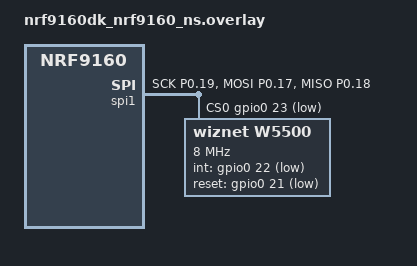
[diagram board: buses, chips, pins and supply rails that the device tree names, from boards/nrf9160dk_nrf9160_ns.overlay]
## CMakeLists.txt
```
cmake_minimum_required(VERSION 3.13.1)
find_package(Zephyr REQUIRED HINTS $ENV{ZEPHYR_BASE})
find_package(PythonInterp REQUIRED)
project(controller)

add_custom_command(TARGET app
     PRE_BUILD
     COMMAND "${PYTHON_EXECUTABLE}" "${CMAKE_CURRENT_SOURCE_DIR}/tools/updatebuild.py" "${CMAKE_CURRENT_SOURCE_DIR}/include"
     COMMENT "This command will generate the build.h file"
     VERBATIM
)
zephyr_include_directories(src)
file (GLOB SRC_FILES
    ${CMAKE_CURRENT_SOURCE_DIR}/src/*.c
)
target_sources(app PRIVATE ${SRC_FILES})
zephyr_library_include_directories(.)
zephyr_library_include_directories(lib)
zephyr_library_include_directories(include)
```

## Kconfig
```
menu "Repository"
config REPOSITORY_STACK_SIZE
	int "Repository in stack size"
	default 2048
	help
	  The size of the repository thread stack

config REPOSITORY_HOSTNAME
	string "Repository hostname"
	default "clientname.pcdworks.com"
	help
	   The target hostname of the repository
	   
config REPOSITORY_PORT
	int "Repository port"
	default 443
	help
	  The repository HTTPS port to use

config REPOSITORY_PATH_LENGTH
	int "Length of the built path for repository"
	default 128
	help
	  The length of the paths for sending and
	  receiving to and from the repository

config REPOSITORY_MESSAGE_COUNT
	int "Number of messsages that can be queued"
	default 16
	help
	   The number of messages for both incoming and
	   outgoing message queues

config REPOSITORY_BUFFER_SIZE
	int "Number of bytes for receive buffer"
	default 2048
	help
	  The size of the buffer to send / receive messages
endmenu

menu "Zephyr Kernel"
source "Kconfig.zephyr"
endmenu
```

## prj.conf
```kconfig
# Memory configuration
CONFIG_HEAP_MEM_POOL_SIZE=1024
CONFIG_MAIN_STACK_SIZE=4096

# Networking support
CONFIG_NETWORKING=y
CONFIG_NET_MGMT=y
CONFIG_NET_CONFIG_SETTINGS=y

# Network sockets
CONFIG_NET_SOCKETS=y
CONFIG_NET_SOCKETS_POSIX_NAMES=y
CONFIG_NET_SOCKETS_OFFLOAD=n

# LTE support
CONFIG_LTE_LINK_CONTROL=y
CONFIG_LTE_AUTO_INIT_AND_CONNECT=n

# Modem library
CONFIG_NRF_MODEM_LIB=y

# C library
CONFIG_NEWLIB_LIBC=y

# Date and time library
CONFIG_DATE_TIME=y

# Logging
CONFIG_LOG=y
CONFIG_NET_LOG=y

# Certificate management
CONFIG_MODEM_KEY_MGMT=y

# IPv4
CONFIG_NET_IPV4=y
CONFIG_NET_DHCPV4=y
CONFIG_NET_IF_MAX_IPV4_COUNT=4

# IPv6
CONFIG_NET_IPV6=y
CONFIG_NET_IF_MAX_IPV6_COUNT=4

# HTTP Client
CONFIG_HTTP_CLIENT=y

# Ethernet
CONFIG_SPI=y
CONFIG_NET_L2_ETHERNET=y
CONFIG_ETH_W5500=y
CONFIG_ETH_W5500_TIMEOUT=1000
CONFIG_ETHERNET_LOG_LEVEL_DBG=y
CONFIG_ETHERNET_LOG_LEVEL_INF=y

# DNS
CONFIG_DNS_RESOLVER=y
CONFIG_DNS_SERVER_IP_ADDRESSES=y
CONFIG_DNS_SERVER1="1.1.1.1"
CONFIG_DNS_SERVER2="8.8.8.8"
CONFIG_DNS_SERVER3="9.9.9.9"
```

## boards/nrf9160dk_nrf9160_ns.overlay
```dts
&uart1 {
	status = "disabled";
};

&pinctrl {

	spi1_default: spi1_default {
		group1 {
            psels = < NRF_PSEL(SPIM_SCK, 0, 19)>,
            < NRF_PSEL(SPIM_MOSI, 0, 17) >,
            < NRF_PSEL(SPIM_MISO, 0, 18) >;
		};
	};
	spi1_sleep: spi1_sleep {
		group1 {
            psels = < NRF_PSEL(SPIM_SCK, 0, 19)>,
            < NRF_PSEL(SPIM_MOSI, 0, 17) >,
            < NRF_PSEL(SPIM_MISO, 0, 18) >;
		};
	};
};

&spi1 {
    compatible = "nordic,nrf-spim";
    status = "okay";
    cs-gpios = <&gpio0 23 (GPIO_ACTIVE_LOW|GPIO_PULL_UP)>;
    pinctrl-0 = <&spi1_default>;
    pinctrl-1 = <&spi1_sleep>;
	pinctrl-names = "default", "sleep";
    w5500: w5500@0 {
        compatible = "wiznet,w5500";
        label = "w5500";
        reg = <0x0>;
        spi-max-frequency = <8000000>;
        int-gpios = <&gpio0 22 GPIO_ACTIVE_LOW>;
        reset-gpios = <&gpio0 21 (GPIO_ACTIVE_LOW|GPIO_PULL_UP)>;
        duplex = < 0 >;
        frame-format = < 0 >;
        local-mac-address = [ 98 76 b6 12 13 56 ];
    };
};
```

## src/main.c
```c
#if __has_include("clientname/build.h")
#include <clientname/build.h>
#endif
#include <clientname/ethernet.h>
#include <clientname/modem.h>
#include <clientname/repository.h>
#include <zephyr/kernel.h>
#include <zephyr/logging/log.h>

#define LOG_MODULE_NAME main
LOG_MODULE_REGISTER(LOG_MODULE_NAME);

#if IS_ENABLED(CONFIG_NET_L2_ETHERNET)
#include <zephyr/net/net_if.h>
#endif

void main() {
#if defined(VERSION) && defined(BUILD)
  printk("Version: %s\nBuild: %s\n", VERSION, BUILD);
#endif

  eth_init();

  /* Enable modem */
  modem_init();

  /* connect to LTE */
  // modem_connect();

  /* Enable repositoy*/
  k_sleep(K_SECONDS(10));
  repository_init();
}
```

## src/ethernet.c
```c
#include <errno.h>
#include <clientname/ethernet.h>
#include <stdio.h>
#include <zephyr/kernel.h>
#include <zephyr/linker/sections.h>
#include <zephyr/net/net_context.h>
#include <zephyr/net/net_core.h>
#include <zephyr/net/net_if.h>
#include <zephyr/net/net_mgmt.h>
#include <zephyr/net/net_config.h>

LOG_MODULE_REGISTER(eth, LOG_LEVEL_DBG);


static struct net_mgmt_event_callback mgmt_cb;

static void handler(struct net_mgmt_event_callback *cb, uint32_t mgmt_event,
                    struct net_if *iface) {
  int i = 0;

  if (mgmt_event != NET_EVENT_IPV4_ADDR_ADD) {
    return;
  }

  for (i = 0; i < NET_IF_MAX_IPV4_ADDR; i++) {
    char buf[NET_IPV4_ADDR_LEN];

    if (iface->config.ip.ipv4->unicast[i].addr_type != NET_ADDR_DHCP) {
      continue;
    }

    LOG_INF("Your address: %s",
            net_addr_ntop(AF_INET,
                          &iface->config.ip.ipv4->unicast[i].address.in_addr,
                          buf, sizeof(buf)));
    LOG_INF("Lease time: %u seconds", iface->config.dhcpv4.lease_time);
    LOG_INF("Subnet: %s",
            net_addr_ntop(AF_INET, &iface->config.ip.ipv4->netmask, buf,
                          sizeof(buf)));
    LOG_INF("Router: %s", net_addr_ntop(AF_INET, &iface->config.ip.ipv4->gw,
                                        buf, sizeof(buf)));
  }
}

void eth_init(void) {
  struct net_if *iface;

  LOG_INF("Run dhcpv4 client");

  net_mgmt_init_event_callback(&mgmt_cb, handler, NET_EVENT_IPV4_ADDR_ADD);
  net_mgmt_add_event_callback(&mgmt_cb);

  iface = net_if_get_default();

  net_dhcpv4_start(iface);

}
```

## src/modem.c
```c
#include <date_time.h>
#include <clientname/certificate.h>
#include <clientname/modem.h>
#include <modem/lte_lc.h>
#include <modem/nrf_modem_lib.h>
#include <nrf_modem_at.h>
#include <stdlib.h>
#include <string.h>
#include <zephyr/kernel.h>
#include <zephyr/logging/log.h>

#define LOG_MODULE_NAME modem
LOG_MODULE_REGISTER(LOG_MODULE_NAME);

/* LTE connection */
static K_SEM_DEFINE(lte_connected, 0, 1);

static void lte_event_handler(const struct lte_lc_evt *const evt) {
  switch (evt->type) {
    case LTE_LC_EVT_NW_REG_STATUS:
      if ((evt->nw_reg_status == LTE_LC_NW_REG_REGISTERED_HOME) ||
          (evt->nw_reg_status == LTE_LC_NW_REG_REGISTERED_ROAMING)) {
        LOG_INF("Connected to LTE");
        k_sem_give(&lte_connected);
      }
      break;
    default:
      break;
  }
}

int modem_get_iccid(char *result, int result_len) {
  char p[60] = {0};
  if (result == NULL || result_len < 30) {
    LOG_ERR("buffer not big enough for iccid");
    return -1;
  }
  nrf_modem_at_cmd(p, sizeof(p), "AT+CRSM=176,12258,0,0,10");
  char *start = strchr(p, '"');
  if (start == NULL) {
    LOG_ERR("invalid response from modem");
    return -1;
  }

  char *end = strchr(start + 1, '"');
  if (end == NULL) {
    LOG_ERR("invalid response from modem");
    return -1;
  }

  memcpy(result, start + 1, end - start - 1);
  return 0;
}

int modem_get_imei(char *result, int result_len) {
  if (result == NULL || result_len < 30) {
    LOG_ERR("buffer not big enough for imei");
    return -1;
  }
  int err = nrf_modem_at_cmd(result, result_len, "AT+CGSN");
  char *end = strchr(result, '\r');
  if (end != NULL) {
    result[end - result] = '\0';
  }
  return err;
}

int modem_get_uuid(char *result, int result_len) {
  char p[32] = {0};
  if (modem_get_imei(p, sizeof(p)) != 0) {
    LOG_ERR("failed to get imei so cannot build uuid");
    return -1;
  }
  int p_len = strlen(p);
  int h = 0;
  for (int i = 0; i < p_len; i++) {
    if (i == 4 || i == 6 || i == 8 || i == 10) {
      result[(i * 2) + h] = '-';
      h++;
    }
    result[(i * 2) + h] = '0';
    result[(i * 2) + h + 1] = p[i];
  }
  return 0;
}

int32_t modem_get_temperature() {
  char res[32] = {0};
  int32_t temp = 0;
  nrf_modem_at_cmd(res, sizeof(res), "AT%%XTEMP?");

  char *found = strchr(res, ':') + 1;

  if (found != NULL) {
    temp = strtol(found + 1, NULL, 10);
  } else {
    LOG_WRN("invalid temperature information");
  }
  return temp;
}

static void date_time_evt_handler(const struct date_time_evt *evt) {
  /* TODO date time event handling */
  LOG_INF("got network datetime");
}

void modem_init() {
  /* handle datetime*/
  if (IS_ENABLED(CONFIG_DATE_TIME)) {
    date_time_register_handler(date_time_evt_handler);
  }

  /* Put the modem in normal operating mode*/
  nrf_modem_lib_init(NORMAL_MODE);

  /* Provision certifcates */
  int err = cert_provision();
  if (err != 0) {
    LOG_ERR("Cannot add certificates");
  }
  /* initialize the modem*/
  lte_lc_init();
  lte_lc_register_handler(lte_event_handler);

  /* Disable PSM. (power saving) */
  lte_lc_psm_req(true);
}

void modem_connect() {
  lte_lc_connect();

  k_sem_take(&lte_connected, K_FOREVER);
}
```

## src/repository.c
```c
#include <clientname/certificate.h>
#include <clientname/modem.h>
#include <clientname/repository.h>
#include <stdio.h>
#include <zephyr/kernel.h>
#include <zephyr/logging/log.h>
#include <zephyr/net/http/client.h>
#include <zephyr/net/socket.h>

#define LOG_MODULE_NAME repository
LOG_MODULE_REGISTER(LOG_MODULE_NAME);

/* repository thread */
K_THREAD_STACK_DEFINE(repository_stack, CONFIG_REPOSITORY_STACK_SIZE);
static struct k_thread repository_tcb;
static k_tid_t repository_thread_id;

K_MSGQ_DEFINE(out_msgq, sizeof(union message), CONFIG_REPOSITORY_MESSAGE_COUNT,
              8);

/* buffer size of incoming and outgoing data */
static char recv_buf[CONFIG_REPOSITORY_BUFFER_SIZE] = {0};
// static char send_buf[CONFIG_REPOSITORY_BUFFER_SIZE] = {0};

/* incoming messages come from here */
static char in_path[CONFIG_REPOSITORY_PATH_LENGTH] = {0};

/* outgoing messages sent to here*/
static char out_path[CONFIG_REPOSITORY_PATH_LENGTH] = {0};

/* wait time between get requests */
static uint32_t wait_time = 5;

ssize_t request(char *buf, size_t buf_len, const char *path) {
  return snprintf(buf, buf_len,
                  "GET %s HTTP/1.1\r\n"
                  "Connection: keep-alive\r\n"
                  "Host: " CONFIG_REPOSITORY_HOSTNAME
                  ":" STR(CONFIG_REPOSITORY_PORT) "\r\n\r\n",
                  path);
}

static void response_cb(struct http_response *rsp,
                        enum http_final_call final_data, void *user_data) {
  if (final_data == HTTP_DATA_MORE) {
    LOG_INF("Partial data received (%zd bytes)", rsp->data_len);
  } else if (final_data == HTTP_DATA_FINAL) {
    LOG_INF("All the data received (%zd bytes)", rsp->data_len);
  }

  LOG_INF("Response status %s", rsp->http_status);
  LOG_INF("Response data %s", rsp->recv_buf);
  if (rsp->http_status_code == 204) {
    LOG_INF("Response data %s", rsp->recv_buf);
  }
}

static void repository_thread(void *a, void *b, void *c) {
  /* response from getaddr */
  struct addrinfo *res = NULL;

  /* hints for socket setup */
  struct addrinfo hints = {
      .ai_family = AF_INET,
      .ai_socktype = SOCK_STREAM,
  };

  /* result error */
  int err = 0;
  /* file descripter */
  int fd = 0;

  LOG_INF("incoming messages from:\r\n\t%s", out_path);
  LOG_INF("outgoing messages to:\r\n\t%s", in_path);

  /* Main repository loop */
  while (1) {
    /* Do clean up */
    if (fd > 0) {
      close(fd);
    }
    if (res != NULL) {
      freeaddrinfo(res);
      res = NULL;
    }

    /* Handle DNS */
    do {
      err = getaddrinfo(CONFIG_REPOSITORY_HOSTNAME, STR(CONFIG_REPOSITORY_PORT),
                        &hints, &res);
      if (err) {
        LOG_WRN("getaddrinfo() failed, err %d\n", errno);
        /* if we did not the DNS then wait 1 second */
        k_sleep(K_SECONDS(1));
      } else {
        uint8_t *addr = ((struct sockaddr_in *)res->ai_addr)->sin_addr.s4_addr;
        LOG_INF("-> %u.%u.%u.%u", addr[0], addr[1], addr[2], addr[3]);
      }
    } while (err != 0); /* End handling DNS */

    /* Setup sockets */
    ((struct sockaddr_in *)res->ai_addr)->sin_port =
        htons(CONFIG_REPOSITORY_PORT);

    k_sleep(K_SECONDS(5));
    fd = socket(AF_INET, SOCK_STREAM, IPPROTO_TLS_1_2);
    LOG_INF("errno %d", errno);
    if (fd == -1) {
      LOG_ERR("Failed to open socket!");
      /* free address*/
      continue;
    }

    /* Setup TLS socket options */
    err = tls_setup(fd);
    if (err) {
      LOG_ERR("Failed to initialize TLS");
      continue;
    }

    /* try to connect */
    int retry = 0;
    do {
      err = connect(fd, res->ai_addr, sizeof(struct sockaddr_in));
      if (err) {
        LOG_ERR("connect() failed, err: %d", errno);
        retry++;
      }
      /* if we retry too many times then give up and redo everything */
      if (retry > 4) {
        LOG_ERR("Couldn't connect, giving up");
        break;
      }
    } while (err);

    /* if not connected then redo everything */
    if (err) {
      LOG_ERR("connect() did not succeed, err: %d", errno);
      continue;
    }

    /* Main work loop */
    while (1) {
      k_sleep(K_SECONDS(wait_time));
      struct http_request req = {0};
      req.method = HTTP_GET;
      req.url = out_path;
      req.host = CONFIG_REPOSITORY_HOSTNAME;
      req.protocol = "HTTP/1.1";
      req.response = response_cb;
      req.recv_buf = recv_buf;
      req.recv_buf_len = sizeof(recv_buf);

      /* sock is a file descriptor referencing a socket that has been connected
       * to the HTTP server.
       */
      int ret = http_client_req(fd, &req, 5000, NULL);
      LOG_INF("http_client_req() returned %d", ret);
      if (ret < 0) {
        LOG_ERR("http_client_req() failed, err: %d", errno);
        break;
      }
    } /* End main work loop */

  } /* End Main repository loop */
}

void repository_send_message(union message msg) {
  while (k_msgq_put(&out_msgq, &msg, K_NO_WAIT) != 0) {
    k_msgq_purge(&out_msgq);
  }
}

void repository_init() {
  char id[40] = {0};

  /* setup gateway id*/
  modem_get_uuid(id, sizeof(id));

  /* build outgoing path */
  snprintf(in_path, CONFIG_REPOSITORY_PATH_LENGTH, "/gateway/%s/in", id);

  /* build incoming path */
  snprintf(out_path, CONFIG_REPOSITORY_PATH_LENGTH, "/gateway/%s/out", id);

  repository_thread_id =
      k_thread_create(&repository_tcb, repository_stack,
                      K_THREAD_STACK_SIZEOF(repository_stack),
                      repository_thread, NULL, NULL, NULL, 0, 0, K_NO_WAIT);
}
```

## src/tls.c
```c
#include <clientname/certificate.h>
#include <modem/modem_key_mgmt.h>
#include <zephyr/logging/log.h>
#include <zephyr/net/socket.h>
#include <zephyr/net/tls_credentials.h>

#define LOG_MODULE_NAME tls
LOG_MODULE_REGISTER(LOG_MODULE_NAME);

#define TLS_SEC_TAG 40
#define CERT_COUNT 3

static const char *cert[CERT_COUNT] = {
#include "../cert/DigiCertGlobalRootCA.pem"
, /* Don't remove this */
#include "../cert/lets-encrypt-r3.pem"
, /* Don't remove this */
#include "../cert/origin_ca_ecc_root.pem"
};

int cert_provision(void) {
  int err;
  bool exists;
  int mismatch;

  for (int i = 0; i < CERT_COUNT; i++) {
    err = modem_key_mgmt_exists(i + TLS_SEC_TAG, MODEM_KEY_MGMT_CRED_TYPE_CA_CHAIN,
                                &exists);
    if (err) {
      LOG_ERR("Failed to check for certificates err %d", err);
      continue;
    }

    if (exists) {
      mismatch = modem_key_mgmt_cmp(
          i + TLS_SEC_TAG, MODEM_KEY_MGMT_CRED_TYPE_CA_CHAIN, cert[i], strlen(cert[i]));
      if (!mismatch) {
        LOG_INF("Certificate match");
        continue;
      }

      printk("Certificate mismatch");
      err =
          modem_key_mgmt_delete(i + TLS_SEC_TAG, MODEM_KEY_MGMT_CRED_TYPE_CA_CHAIN);
      if (err) {
        LOG_WRN("Failed to delete existing certificate, err %d", err);
      }
    }

    LOG_INF("Provisioning certificate");

    /*  Provision certificate to the modem */
    err = modem_key_mgmt_write(i + TLS_SEC_TAG, MODEM_KEY_MGMT_CRED_TYPE_CA_CHAIN,
                               cert[i], strlen(cert[i]));
    if (err) {
      LOG_ERR("Failed to provision certificate, err %d", err);
      continue;
    }
  }

  return 0;
}

int tls_setup(int fd) {
  int err;
  int verify;

  /* Security tag that we have provisioned the certificate with */
  const sec_tag_t tls_sec_tag[] = {
      TLS_SEC_TAG,
      TLS_SEC_TAG + 1,
      TLS_SEC_TAG + 2,
  };

  /* Set up TLS peer verification */
  enum {
    NONE = 0,
    OPTIONAL = 1,
    REQUIRED = 2,
  };

  verify = OPTIONAL;

  err = setsockopt(fd, SOL_TLS, TLS_PEER_VERIFY, &verify, sizeof(verify));
  if (err) {
    LOG_ERR("Failed to setup peer verification, err %d\n", errno);
    return err;
  }

  err = setsockopt(fd, SOL_TLS, TLS_SEC_TAG_LIST, tls_sec_tag,
                   sizeof(tls_sec_tag));
  if (err) {
    LOG_ERR("Failed to setup TLS sec tag, err %d", errno);
    return err;
  }

  err = setsockopt(fd, SOL_TLS, TLS_HOSTNAME, CONFIG_REPOSITORY_HOSTNAME,
                   sizeof(CONFIG_REPOSITORY_HOSTNAME) - 1);
  if (err) {
    LOG_ERR("Failed to setup TLS hostname, err %d", errno);
    return err;
  }
  return 0;
}
```
